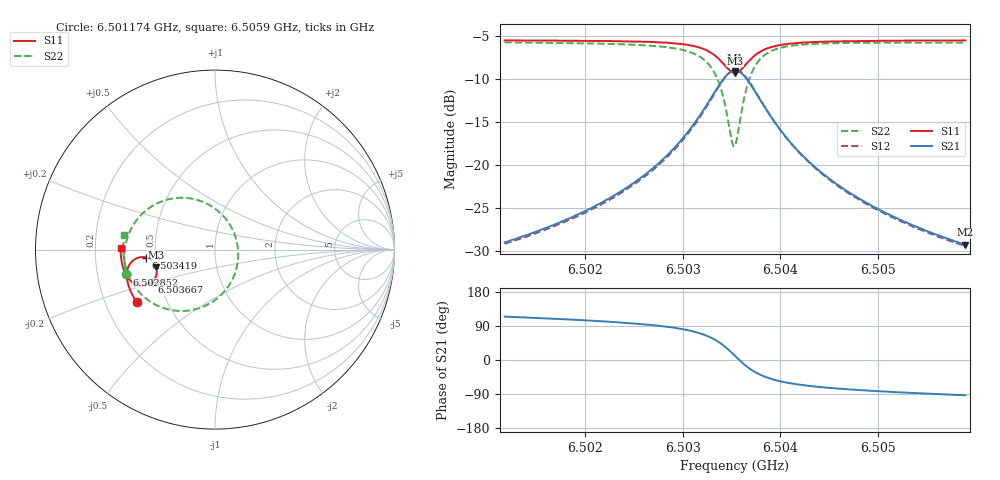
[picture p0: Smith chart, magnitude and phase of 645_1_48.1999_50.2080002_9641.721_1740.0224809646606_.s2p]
#  HZ  S  RI  R  50.00
! Rohde & Schwarz Vector Network Analyzer
! Rohde-Schwarz,ZNB20-2Port,1311601062101988,3.16
! Created: UTC 3/20/2024, 12:04:58 PM
! freq[Hz]  re:S11  im:S11  re:S21  im:S21  re:S12  im:S12  re:S22  im:S22
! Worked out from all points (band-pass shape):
!   401 points, 6.501174 GHz to 6.5059 GHz, reference 50 ohm
!   highest |S21| = -9.05 dB at 6.503537 GHz (marker M1); lowest = -29.2 dB at 6.5059 GHz (marker M2)
!   |S21| within 3 dB of the highest: 6.503301 GHz to 6.503774 GHz (472.4 kHz wide, 0.00726 % of centre)
!   lowest |S11| = -9.3 dB at 6.503537 GHz (marker M3), VSWR 2.04, Z = 24.9 - j5.56 ohm
!   |S11| at or under -10 dB: nowhere
!   |S22| runs from -17.9 to -5.8 dB; largest |S21 - S12| = 0.013
!   S11 on the Smith chart (normalised r, x): 6.501174 GHz: 0.34, -0.27; 6.502852 GHz: 0.33, -0.12; 6.503419 GHz: 0.44, -0.05; 6.503667 GHz: 0.46, -0.19; 6.5059 GHz: 0.31, +0.01
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6.5011743e9  -0.4369 -0.2939  -0.0148 0.0324  -0.0129 0.0325  -0.4951 -0.1355
6.5019659e9  -0.4694 -0.2335  -0.0138 0.0511  -0.0112 0.0507  -0.505 -0.0476
6.5024031e9  -0.4838 -0.1932  -0.0104 0.0717  -0.00717 0.0705  -0.4997 0.0182
6.5027575e9  -0.4912 -0.1518  -0.000396 0.1027  0.00347 0.1003  -0.4774 0.0945
6.502852e9  -0.4914 -0.1384  0.00549 0.1154  0.00939 0.1123  -0.4644 0.1212
6.5030529e9  -0.4854 -0.1038  0.0304 0.1519  0.0344 0.1472  -0.4127 0.1923
6.5031946e9  -0.4689 -0.0733  0.072 0.1871  0.075 0.1809  -0.3326 0.2525
6.5033246e9  -0.4314 -0.0463  0.1521 0.2134  0.1531 0.2069  -0.1869 0.2889
6.5034191e9  -0.3829 -0.0442  0.247 0.1957  0.2474 0.1908  -0.0223 0.2433
6.5035018e9  -0.3384 -0.0752  0.3282 0.1179  0.3311 0.1133  0.1075 0.0896
6.5035372e9  -0.3271 -0.0984  0.3462 0.067  0.3506 0.061  0.129 -0.00586
6.5035609e9  -0.3242 -0.1155  0.3496 0.0309  0.3544 0.0235  0.1264 -0.0722
6.5035963e9  -0.3264 -0.1406  0.3416 -0.0213  0.3458 -0.031  0.0976 -0.1651
6.5036672e9  -0.3497 -0.1795  0.2926 -0.1005  0.2928 -0.1132  -0.0181 -0.2935
6.5037617e9  -0.3922 -0.2  0.2109 -0.145  0.2058 -0.1563  -0.1846 -0.3421
6.5038326e9  -0.4194 -0.1998  0.1615 -0.1503  0.1543 -0.1589  -0.2773 -0.3287
6.5039153e9  -0.4431 -0.1926  0.1194 -0.1438  0.1117 -0.1501  -0.3512 -0.296
6.5040807e9  -0.4731 -0.1713  0.0697 -0.122  0.0628 -0.1247  -0.4318 -0.2264
6.5043288e9  -0.4959 -0.14  0.0358 -0.094  0.0304 -0.0946  -0.4809 -0.1465
6.5046833e9  -0.5117 -0.1014  0.0158 -0.069  0.0121 -0.0687  -0.5045 -0.0699
6.5051204e9  -0.521 -0.06  0.00548 -0.0512  0.00294 -0.0505  -0.5111 -0.00398
6.5059001e9  -0.5263 0.00709  -0.00187 -0.0345  -0.00339 -0.0337  -0.5046 0.0822
